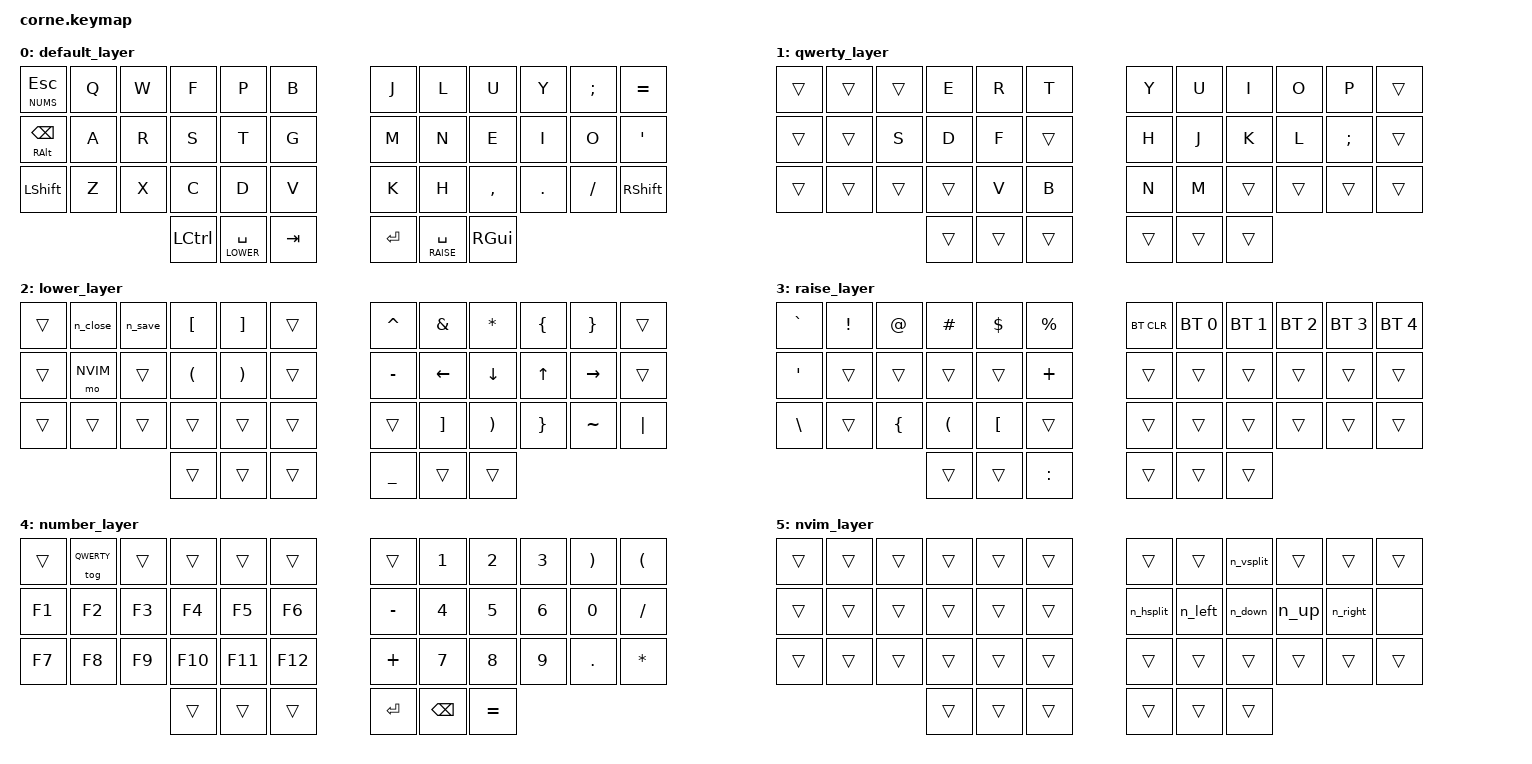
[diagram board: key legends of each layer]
/*
 * Copyright (c) 2020 The ZMK Contributors
 *
 * SPDX-License-Identifier: MIT
 */

#include <behaviors.dtsi>
#include <dt-bindings/zmk/keys.h>
#include <dt-bindings/zmk/bt.h>

/*
 * Layers
 */
#define DEFAULT 0
#define QWERTY  1
#define LOWER   2
#define RAISE   3
#define NUMS    4
#define NVIM    5

/*
 * Hold/mod-tap
 */
#define HT_LS &mht LOWER SPACE
#define HT_RS &mht RAISE SPACE
#define HT_NE &mht NUMS ESC
#define HT_AB &htt RALT BSPC

/*
 * Bluetooth
 */
#define BT_L0 &bt BT_SEL 0
#define BT_L1 &bt BT_SEL 1
#define BT_L2 &bt BT_SEL 2
#define BT_L3 &bt BT_SEL 3
#define BT_L4 &bt BT_SEL 4

/*
 * Tap dance
 */
#define DANCE_TERM <180>

/ {
    behaviors {
        mht: momentary_hold_tap {
            compatible = "zmk,behavior-hold-tap";
            label = "MOMENTARY_HOLD_TAP";
            #binding-cells = <2>;
            tapping-term-ms = <250>;
            quick-tap-ms = <30>;
            flavor = "balanced";
            bindings = <&mo>, <&kp>;
        };
        htt: hold_tap_tap  {
            compatible = "zmk,behavior-hold-tap";
            label = "HOLD_TAP_TAP";
            #binding-cells = <2>;
            tapping-term-ms = <170>;
            flavor = "tap-preferred";
            bindings = <&kp>, <&kp>;
        };
        htb: hold_tap_balanced  {
            compatible = "zmk,behavior-hold-tap";
            label = "HOLD_TAP_BALANCED";
            #binding-cells = <2>;
            tapping-term-ms = <250>;
            quick-tap-ms = <30>;
            flavor = "balanced";
            bindings = <&kp>, <&kp>;
        };
        hth: hold_tap_hold  {
            compatible = "zmk,behavior-hold-tap";
            label = "HOLD_TAP_HOLD";
            #binding-cells = <2>;
            tapping-term-ms = <220>;
            quick-tap-ms = <100>;
            flavor = "hold-preferred";
            bindings = <&kp>, <&kp>;
        };
        n_save: nvim_save {
            compatible = "zmk,behavior-macro";
            label = "NVIM_SAVE";
            #binding-cells = <0>;
            bindings = <&kp COLON &kp W &kp RET>;
        };
        n_close: nvim_close {
            compatible = "zmk,behavior-macro";
            label = "NVIM_CLOSE";
            #binding-cells = <0>;
            bindings = <&kp COLON &kp Q &kp RET>;
        };
        n_hsplit: nvim_hsplit {
            compatible = "zmk,behavior-macro";
            label = "NVIM_HSPLIT";
            #binding-cells = <0>;
            bindings = <&kp COLON &kp S &kp P &kp RET>;
        };
        n_vsplit: nvim_vsplit {
            compatible = "zmk,behavior-macro";
            label = "NVIM_VSPLIT";
            #binding-cells = <0>;
            bindings = <&kp COLON &kp V &kp S &kp P &kp RET>;
        };
        n_left: nvim_left {
            compatible = "zmk,behavior-macro";
            label = "NVIM_LEFT";
            #binding-cells = <0>;
            bindings = <&kp LC(W) &kp LEFT>;
        };
        n_down: nvim_down {
            compatible = "zmk,behavior-macro";
            label = "NVIM_DOWN";
            #binding-cells = <0>;
            bindings = <&kp LC(W) &kp DOWN>;
        };
        n_up: nvim_up {
            compatible = "zmk,behavior-macro";
            label = "NVIM_UP";
            #binding-cells = <0>;
            bindings = <&kp LC(W) &kp UP>;
        };
        n_right: nvim_right {
            compatible = "zmk,behavior-macro";
            label = "NVIM_RIGHT";
            #binding-cells = <0>;
            bindings = <&kp LC(W) &kp RIGHT>;
        };
    };
    keymap {
        compatible = "zmk,keymap";
        default_layer {
            bindings = <
//|---------|---------|---------|---------|---------|---------|  |---------|---------|---------|---------|---------|---------|
     HT_NE     &kp Q     &kp W     &kp F     &kp P     &kp B        &kp J     &kp L     &kp U     &kp Y   &kp SEMI  &kp EQUAL
//|---------|---------|---------|---------|---------|---------|  |---------|---------|---------|---------|---------|---------|
     HT_AB     &kp A     &kp R     &kp S     &kp T     &kp G        &kp M     &kp N     &kp E     &kp I     &kp O    &kp SQT
//|---------|---------|---------|---------|---------|---------|  |---------|---------|---------|---------|---------|---------|
   &kp LSHFT   &kp Z     &kp X     &kp C     &kp D     &kp V        &kp K     &kp H   &kp COMMA  &kp DOT  &kp FSLH  &kp RSHFT
//|---------|---------|---------|---------|---------|---------|  |---------|---------|---------|---------|---------|---------|
                                 &kp LCTRL   HT_LS    &kp TAB      &kp RET    HT_RS   &kp RGUI
//                              |---------|---------|---------|  |---------|---------|---------|
            >;
        };
        qwerty_layer {
            bindings = <
//|---------|---------|---------|---------|---------|---------|  |---------|---------|---------|---------|---------|---------|
    &trans    &trans    &trans     &kp E     &kp R     &kp T        &kp Y     &kp U     &kp I     &kp O     &kp P    &trans
//|---------|---------|---------|---------|---------|---------|  |---------|---------|---------|---------|---------|---------|
    &trans    &trans     &kp S     &kp D     &kp F    &trans        &kp H     &kp J     &kp K     &kp L   &kp SEMI   &trans
//|---------|---------|---------|---------|---------|---------|  |---------|---------|---------|---------|---------|---------|
    &trans    &trans    &trans    &trans     &kp V     &kp B        &kp N     &kp M    &trans    &trans    &trans    &trans
//|---------|---------|---------|---------|---------|---------|  |---------|---------|---------|---------|---------|---------|
                                  &trans    &trans    &trans       &trans    &trans    &trans
//                              |---------|---------|---------|  |---------|---------|---------|
            >;
        };
        lower_layer {
            bindings = <
//|---------|---------|---------|---------|---------|---------|  |---------|---------|---------|---------|---------|---------|
    &trans   &n_close   &n_save  &kp LBKT  &kp RBKT   &trans      &kp CARET &kp AMPS  &kp STAR  &kp LBRC  &kp RBRC   &trans
//|---------|---------|---------|---------|---------|---------|  |---------|---------|---------|---------|---------|---------|
    &trans   &mo NVIM   &trans   &kp LPAR  &kp RPAR   &trans      &kp MINUS &kp LEFT  &kp DOWN   &kp UP   &kp RIGHT  &trans
//|---------|---------|---------|---------|---------|---------|  |---------|---------|---------|---------|---------|---------|
    &trans    &trans    &trans    &trans    &trans    &trans       &trans   &kp RBKT  &kp RPAR  &kp RBRC  &kp TILDE &kp PIPE
//|---------|---------|---------|---------|---------|---------|  |---------|---------|---------|---------|---------|---------|
                                  &trans    &trans    &trans      &kp UNDER  &trans    &trans
//                              |---------|---------|---------|  |---------|---------|---------|
            >;
        };
        raise_layer {
            bindings = <
//|---------|---------|---------|---------|---------|---------|  |---------|---------|---------|---------|---------|---------|
   &kp GRAVE &kp EXCL   &kp AT   &kp POUND &kp DLLR  &kp PRCNT   &bt BT_CLR   BT_L0     BT_L1     BT_L2     BT_L3     BT_L4
//|---------|---------|---------|---------|---------|---------|  |---------|---------|---------|---------|---------|---------|
    &kp SQT   &trans    &trans    &trans    &trans   &kp PLUS      &trans    &trans    &trans    &trans    &trans    &trans
//|---------|---------|---------|---------|---------|---------|  |---------|---------|---------|---------|---------|---------|
   &kp BSLH   &trans   &kp LBRC  &kp LPAR  &kp LBKT   &trans       &trans    &trans    &trans    &trans    &trans    &trans
//|---------|---------|---------|---------|---------|---------|  |---------|---------|---------|---------|---------|---------|
                                  &trans    &trans   &kp COLON     &trans    &trans    &trans
//                              |---------|---------|---------|  |---------|---------|---------|
            >;
        };
        number_layer {
            bindings = <
//|---------|---------|---------|---------|---------|---------|  |---------|---------|---------|---------|---------|---------|
    &trans  &tog QWERTY &trans    &trans    &trans    &trans       &trans    &kp N1    &kp N2    &kp N3   &kp RPAR  &kp LPAR
//|---------|---------|---------|---------|---------|---------|  |---------|---------|---------|---------|---------|---------|
    &kp F1    &kp F2    &kp F3    &kp F4    &kp F5    &kp F6      &kp MINUS  &kp N4    &kp N5    &kp N6    &kp N0   &kp FSLH
//|---------|---------|---------|---------|---------|---------|  |---------|---------|---------|---------|---------|---------|
    &kp F7    &kp F8    &kp F9    &kp F10   &kp F11   &kp F12    &kp PLUS   &kp N7    &kp N8    &kp N9    &kp DOT  &kp STAR
//|---------|---------|---------|---------|---------|---------|  |---------|---------|---------|---------|---------|---------|
                                  &trans    &trans    &trans       &kp RET  &kp BSPC  &kp EQUAL
//                              |---------|---------|---------|  |---------|---------|---------|
            >;
        };
        nvim_layer {
            bindings = <
//|---------|---------|---------|---------|---------|---------|  |---------|---------|---------|---------|---------|---------|
    &trans    &trans    &trans    &trans    &trans    &trans       &trans    &trans   &n_vsplit  &trans    &trans    &trans
//|---------|---------|---------|---------|---------|---------|  |---------|---------|---------|---------|---------|---------|
    &trans    &trans    &trans    &trans    &trans    &trans      &n_hsplit  &n_left   &n_down    &n_up   &n_right    &none
//|---------|---------|---------|---------|---------|---------|  |---------|---------|---------|---------|---------|---------|
    &trans    &trans    &trans    &trans    &trans    &trans       &trans    &trans    &trans    &trans    &trans    &trans
//|---------|---------|---------|---------|---------|---------|  |---------|---------|---------|---------|---------|---------|
                                  &trans    &trans    &trans       &trans    &trans    &trans
//                              |---------|---------|---------|  |---------|---------|---------|
            >;
        };
    };
};
